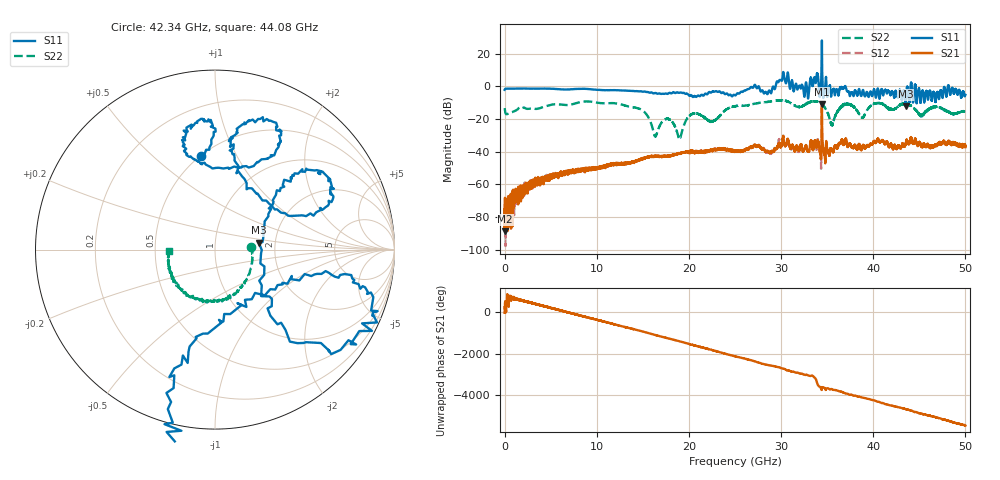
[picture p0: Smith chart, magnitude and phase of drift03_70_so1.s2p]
!Created with skrf (http://scikit-rf.org).
# Hz S RI R 50.0
!freq ReS11 ImS11 ReS21 ImS21 ReS12 ImS12 ReS22 ImS22
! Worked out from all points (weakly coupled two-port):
!   10000 points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, 5.3 MHz to 50 GHz, reference 50 ohm
!   highest |S21| = -11.04 dB at 34.43 GHz (marker M1); lowest = -88.6 dB at 70.3 MHz (marker M2)
!   lowest |S11| = -12.1 dB at 43.52 GHz (marker M3), VSWR 1.66, Z = 81.9 + j6.74 ohm
!   |S11| at or under -10 dB: 43.48574 GHz to 43.55289 GHz (67.15 MHz wide, 0.154 % of centre); 44.70427 GHz to 44.71221 GHz (7.939 MHz wide, 0.0178 % of centre); 45.11914 GHz to 45.12127 GHz (2.136 MHz wide, 0.00473 % of centre) (the widest 3 of 4)
!   |S22| runs from -32.3 to -8.4 dB; largest |S21 - S12| = 0.088
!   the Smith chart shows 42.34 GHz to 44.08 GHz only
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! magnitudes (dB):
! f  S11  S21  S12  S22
! 5.3 MHz  -2.1  -76.4  -72.1  -13.3
! 70.3 MHz  -1.5  -88.6  -75.3  -15.6
! 3.03 GHz  -1.4  -58.9  -58.5  -13.4
! 8.34 GHz  -1.5  -51.3  -51.0  -9.5
! 14.57 GHz  -3.1  -45.5  -45.0  -13.6
! 16.67 GHz  -4.4  -42.9  -43.0  -26.4
! 17.78 GHz  -4.3  -42.5  -42.4  -19.9
! 19 GHz  -3.9  -41.1  -41.0  -32.3
! 20.32 GHz  -5.8  -40.0  -40.3  -17.1
! 22.56 GHz  -3.1  -39.3  -39.1  -21.4
! 25.01 GHz  -5.5  -39.8  -39.8  -12.2
! 30.14 GHz  4.4  -33.8  -34.1  -8.5
! 33.34 GHz  2.6  -34.8  -35.2  -9.3
! 34.43 GHz  28.1  -11.0  -13.2  -10.8
! 35.51 GHz  -3.8  -38.3  -38.7  -24.1
! 36.94 GHz  0.1  -33.6  -33.5  -10.8
! 38.78 GHz  -4.5  -37.8  -38.2  -19.3
! 40.17 GHz  -3.2  -34.0  -34.1  -10.5
! 41.67 GHz  -2.8  -36.9  -36.7  -13.6
! 43.52 GHz  -12.1  -35.3  -35.2  -10.8
! 45.2 GHz  -7.2  -36.4  -36.4  -18.2
! 50 GHz  -5.2  -37.1  -36.6  -15.5
